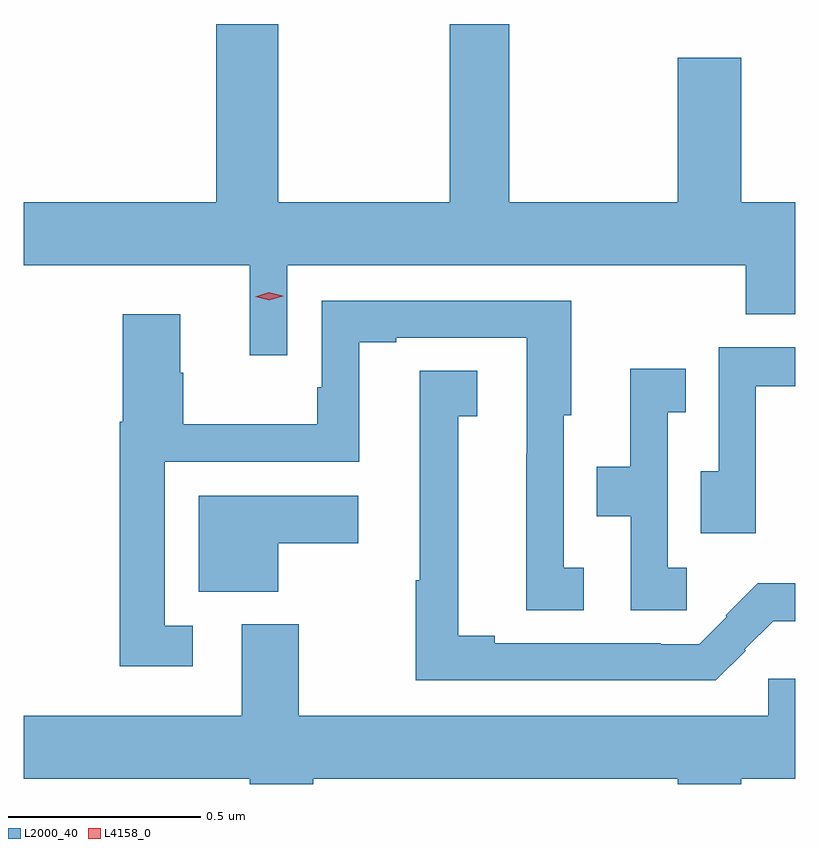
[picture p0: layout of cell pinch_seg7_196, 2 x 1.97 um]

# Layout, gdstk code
import gdstk
lib = gdstk.Library(unit=1e-6, precision=1e-09)
def P(c, l, *ps):  # polygons
    for p in ps: c.add(gdstk.Polygon(p, *l))
L2000_40 = (2000, 40)
L4158_0 = (4158, 0)

pinch_seg7_196 = lib.new_cell('pinch_seg7_196')
P(pinch_seg7_196, L2000_40, [(1123.035,1028.588),(1124.224,1028.588),(1124.224,1028.461),(1124.352,1028.461),(1124.352,1028.752),(1124.212,1028.752),(1124.212,1029.127),(1124.048,1029.127),(1124.048,1028.752),(1123.611,1028.752),(1123.611,1029.214),(1123.456,1029.214),(1123.456,1028.752),(1123.011,1028.752),(1123.011,1029.214),(1122.851,1029.214),(1122.851,1028.752),(1122.352,1028.752),(1122.352,1028.588),(1122.938,1028.588),(1122.938,1028.355),(1123.035,1028.355)],
  [(1122.79,1027.653),(1122.717,1027.653),(1122.717,1028.079),(1123.222,1028.079),(1123.222,1028.388),(1123.318,1028.388),(1123.318,1028.4),(1123.656,1028.4),(1123.656,1028.099),(1123.655,1028.099),(1123.655,1027.693),(1123.804,1027.693),(1123.804,1027.804),(1123.752,1027.804),(1123.752,1028.199),(1123.771,1028.199),(1123.771,1028.496),(1123.125,1028.496),(1123.125,1028.272),(1123.113,1028.272),(1123.113,1028.176),(1122.765,1028.176),(1122.765,1028.31),(1122.757,1028.31),(1122.757,1028.461),(1122.608,1028.461),(1122.608,1028.182),(1122.601,1028.182),(1122.601,1027.548),(1122.79,1027.548)],
  [(1124.25,1028.275),(1124.352,1028.275),(1124.352,1028.376),(1124.154,1028.376),(1124.154,1028.054),(1124.107,1028.054),(1124.107,1027.893),(1124.25,1027.893)],
  [(1124.071,1027.804),(1124.022,1027.804),(1124.022,1028.207),(1124.069,1028.207),(1124.069,1028.32),(1123.925,1028.32),(1123.925,1028.066),(1123.837,1028.066),(1123.837,1027.938),(1123.926,1027.938),(1123.926,1027.693),(1124.071,1027.693)],
  [(1124.224,1027.589),(1124.222,1027.592),(1124.295,1027.665),(1124.352,1027.665),(1124.352,1027.763),(1124.255,1027.763),(1124.172,1027.68),(1124.175,1027.677),(1124.103,1027.605),(1124.003,1027.605),(1124.003,1027.608),(1123.573,1027.608),(1123.573,1027.628),(1123.478,1027.628),(1123.478,1028.197),(1123.528,1028.197),(1123.528,1028.315),(1123.379,1028.315),(1123.379,1027.772),(1123.368,1027.772),(1123.368,1027.512),(1124.146,1027.512)],
  [(1123.012,1027.868),(1123.219,1027.868),(1123.219,1027.99),(1122.806,1027.99),(1122.806,1027.742),(1123.012,1027.742)],
  [(1123.102,1027.256),(1124.048,1027.256),(1124.048,1027.243),(1124.212,1027.243),(1124.212,1027.256),(1124.352,1027.256),(1124.352,1027.516),(1124.283,1027.516),(1124.283,1027.42),(1123.065,1027.42),(1123.065,1027.657),(1122.917,1027.657),(1122.917,1027.42),(1122.352,1027.42),(1122.352,1027.256),(1122.938,1027.256),(1122.938,1027.243),(1123.102,1027.243)])
P(pinch_seg7_196, L4158_0, [(1122.988,1028.498),(1122.952,1028.507),(1122.951,1028.507),(1122.952,1028.507),(1122.987,1028.518),(1123.023,1028.509),(1123.024,1028.508),(1123.023,1028.508)])

lib.write_gds('pinch_seg7_196.gds')
